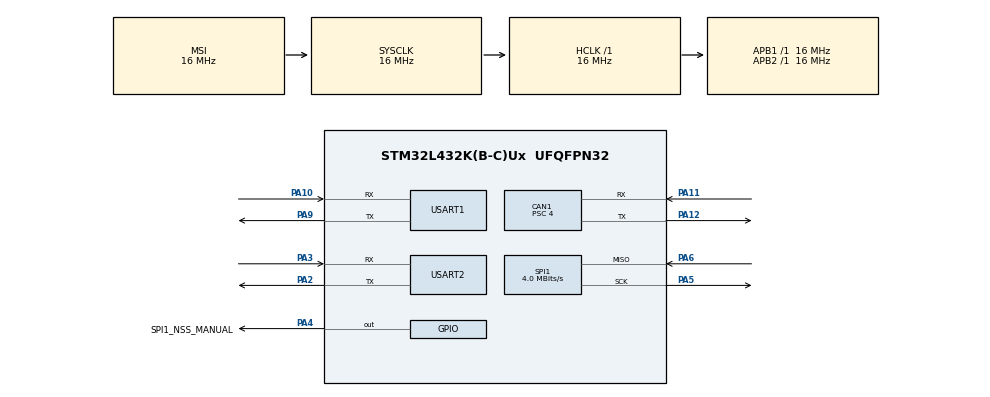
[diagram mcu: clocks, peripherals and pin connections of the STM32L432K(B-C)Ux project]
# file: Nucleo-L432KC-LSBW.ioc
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CAN1.ABOM=ENABLE
CAN1.BS1=CAN_BS1_13TQ
CAN1.BS2=CAN_BS2_2TQ
CAN1.CalculateBaudRate=250000
CAN1.CalculateTimeBit=4000
CAN1.CalculateTimeQuantum=250.0
CAN1.Mode=CAN_MODE_NORMAL
CAN1.Prescaler=4
CAN1.SJW=CAN_SJW_1TQ
CAN1.TTCM=DISABLE
Mcu.Family=STM32L4
Mcu.Name=STM32L432K(B-C)Ux
Mcu.Package=UFQFPN32
NVIC.CAN1_RX0_IRQn=true\:0\:0\:false\:false\:true\:true\:true\:true
NVIC.CAN1_RX1_IRQn=true\:0\:0\:false\:false\:true\:true\:true\:true
NVIC.PriorityGroup=NVIC_PRIORITYGROUP_4
NVIC.SPI1_IRQn=true\:0\:0\:false\:false\:true\:true\:true\:true
NVIC.TIM1_UP_TIM16_IRQn=true\:0\:0\:false\:false\:true\:true\:true\:true
NVIC.TIM6_DAC_IRQn=true\:0\:0\:false\:false\:true\:true\:true\:true
NVIC.TIM7_IRQn=true\:0\:0\:false\:false\:true\:true\:true\:true
NVIC.USART1_IRQn=true\:0\:0\:false\:false\:true\:true\:true\:true
NVIC.USART2_IRQn=true\:0\:0\:false\:false\:true\:true\:true\:true
PA10.Mode=Asynchronous
PA10.Signal=USART1_RX
PA11.Mode=CAN_Activate
PA11.Signal=CAN1_RX
PA12.Mode=CAN_Activate
PA12.Signal=CAN1_TX
PA13\ (JTMS-SWDIO).Mode=Serial_Wire
PA13\ (JTMS-SWDIO).Signal=SYS_JTMS-SWDIO
PA14\ (JTCK-SWCLK).Mode=Serial_Wire
PA14\ (JTCK-SWCLK).Signal=SYS_JTCK-SWCLK
PA2.Mode=Asynchronous
PA2.Signal=USART2_TX
PA3.Mode=Asynchronous
PA3.Signal=USART2_RX
PA4.GPIO_Label=SPI1_NSS_MANUAL
PA4.Signal=GPIO_Output
PA5.Mode=RX_Only_Simplex_Unidirect_Master
PA5.Signal=SPI1_SCK
PA6.Mode=RX_Only_Simplex_Unidirect_Master
PA6.Signal=SPI1_MISO
PA9.Mode=Asynchronous
PA9.Signal=USART1_TX
ProjectManager.HeapSize=0x200
ProjectManager.StackSize=0x400
ProjectManager.TargetToolchain=STM32CubeIDE
RCC.ADCFreq_Value=64000000
RCC.AHBFreq_Value=16000000
RCC.APB1Freq_Value=16000000
RCC.APB1TimFreq_Value=16000000
RCC.APB2Freq_Value=16000000
RCC.APB2TimFreq_Value=16000000
RCC.CortexFreq_Value=16000000
RCC.HCLKFreq_Value=16000000
RCC.HSE_VALUE=8000000
RCC.HSI48_VALUE=48000000
RCC.HSI_VALUE=16000000
RCC.LSE_VALUE=32768
RCC.MSIClockRange=RCC_MSIRANGE_8
RCC.MSI_VALUE=16000000
RCC.SYSCLKFreq_VALUE=16000000
RCC.USBFreq_Value=64000000
RCC.VCOOutputFreq_Value=128000000
SPI1.BaudRatePrescaler=SPI_BAUDRATEPRESCALER_4
SPI1.CLKPhase=SPI_PHASE_2EDGE
SPI1.CalculateBaudRate=4.0 MBits/s
SPI1.DataSize=SPI_DATASIZE_16BIT
SPI1.Direction=SPI_DIRECTION_2LINES_RXONLY
SPI1.Mode=SPI_MODE_MASTER
SPI1.VirtualType=VM_MASTER
TIM16.Period=20000
TIM16.Prescaler=160-1
TIM6.Period=40000
TIM6.Prescaler=16-1
TIM7.Period=20000
TIM7.Prescaler=16-1
USART1.VirtualMode-Asynchronous=VM_ASYNC
USART2.VirtualMode-Asynchronous=VM_ASYNC
VP_TIM16_VS_ClockSourceINT.Mode=Enable_Timer
VP_TIM6_VS_ClockSourceINT.Mode=Enable_Timer
VP_TIM7_VS_ClockSourceINT.Mode=Enable_Timer
board=custom

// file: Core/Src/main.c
/* USER CODE BEGIN Header */
/**
  ******************************************************************************
  * @file           : main.c
  * @brief          : Main program body
  ******************************************************************************
  * @attention
  *
  * Copyright (c) 2022 STMicroelectronics.
  * All rights reserved.
  *
  * This software is licensed under terms that can be found in the LICENSE file
  * in the root directory of this software component.
  * If no LICENSE file comes with this software, it is provided AS-IS.
  *
  ******************************************************************************
  */
/* USER CODE END Header */
#include "main.h"

/* USER CODE BEGIN Includes */

#include "utils.h"
#include "math.h"
#include <stdio.h>
#include "vesc.h"
#include "as5047p.h"

/* USER CODE END Includes */

CAN_HandleTypeDef hcan1;

SPI_HandleTypeDef hspi1;

TIM_HandleTypeDef htim6;
TIM_HandleTypeDef htim7;
TIM_HandleTypeDef htim16;

UART_HandleTypeDef huart1;
UART_HandleTypeDef huart2;

void SystemClock_Config(void);
static void MX_GPIO_Init(void);
static void MX_CAN1_Init(void);
static void MX_USART1_UART_Init(void);
static void MX_USART2_UART_Init(void);
static void MX_SPI1_Init(void);
static void MX_TIM6_Init(void);
static void MX_TIM7_Init(void);
static void MX_TIM16_Init(void);

/* USER CODE BEGIN 0 */

CAN_TxHeaderTypeDef TxHeader;
CAN_RxHeaderTypeDef RxHeader;

uint32_t TxMailbox;

uint8_t CAN_TxData[4];
uint8_t CAN_RxData[4];

uint8_t vesc_packet[10];

double error = 0.0;
double error_prev = 0.0;
double error_max = 10.0;

double kp_e = 0.50;
double kd_e = 1.00;

double steer_measured = 0.0;
double steer_desired = 0.0;
double steer_offset = -65;
double steer_max = 55.0;

double current = 0.0;
double current_multiplier = 1.8; // for multip-surface friction adjustment
double current_max = 18.0;

// uart print to serial terminal for debugging purpose
int _write(int file, char *ptr, int len){
	HAL_UART_Transmit(&huart2, (uint8_t*)ptr, len, HAL_MAX_DELAY);
	return len;
}

// wrap angle between -180 and 180
double wrap_to_pi(double angle){
	double new_angle;

	if (angle < -180.0){
		new_angle = angle + 360.0;
	} else if (angle > 180.0){
		new_angle = angle - 360.0;
	} else{
		new_angle = angle;
	}

	return new_angle;
}

// read the current steering angle from the sensor
void read_steer(){
	as5047p_spi_comm_stats_t as5047p;

    if (spi_as5047p_blocking_read(&steer_measured, &as5047p) == HAL_OK) {
    	steer_measured -= steer_offset;
	    steer_measured = wrap_to_pi(steer_measured);
    }
}

// modified PID control for steering current
void compute_current(){
    error = steer_desired - steer_measured;

    // ignore small error to avoid oscillation
    if (steer_desired <= 2.0 && fabs(error) < 1.0)
    {
    	error = error_prev = current = 0.0;
    	return;
    }

	double error_bound = error;

	if (error > error_max){
		error_bound = error_max;
	} if (error < -error_max){
		error_bound = -error_max;
	}

	double angle_compensation = 2.0 * (steer_desired / steer_max);

    current = error_bound * kp_e + (error - error_prev) * kd_e + angle_compensation;
    current *= current_multiplier;
    current = -current;

    if (current > current_max){
    	current = current_max;
    }
    if (current < -current_max){
    	current = -current_max;
    }

	error_prev = error;
}

// send can and uart command
void send_command(){
	float steer_transmit = steer_measured;

	if (steer_transmit > steer_max){
		steer_transmit = steer_max;
	} else if (steer_transmit < -steer_max){
		steer_transmit = -steer_max;
	}

    // send current command to vesc via uart
	vesc_set_current(vesc_packet, (float)current);
	//when the current is low set the rpm to 0 to brake the motor
	if (abs(current) <= 0.5){
		vesc_set_rpm(vesc_packet, 0);
	}
	HAL_UART_Transmit(VESC_UART, vesc_packet, sizeof(vesc_packet), 2);
}

void send_info(){
	// send measured steering angle on canbus
	CAN_TxData[0] = (int)(steer_measured + steer_max);
    HAL_CAN_AddTxMessage(&hcan1, &TxHeader, CAN_TxData, &TxMailbox);

/*    printf(
  	  "steering angle desired: %.2f \r\n", steer_desired
    );
    printf(
  	  "steering angle measured: %.2f \r\n", steer_measured
    );
    printf(
  	  "steering angle error: %.2f \r\n", error
    );
    printf(
  	  "control current: %.2f \r\n", current
    );*/
}

void HAL_CAN_RxFifo0MsgPendingCallback(CAN_HandleTypeDef *hcan1)
{
  if (HAL_CAN_GetRxMessage(hcan1, CAN_RX_FIFO0, &RxHeader, CAN_RxData) != HAL_OK)
  {
	  Error_Handler();
  }

  // 0x100 is the can device id of the main controller
  if (RxHeader.StdId == 0x100)
  {
    // for CAN communication debugging
    printf("Receive from MAIN CONTROLLER\r\n");

	  // recover raw steer data [-50 - 50]
	  steer_desired = CAN_RxData[0] - steer_max;
	  steer_desired = wrap_to_pi(steer_desired);
  }
}

void HAL_TIM_PeriodElapsedCallback(TIM_HandleTypeDef *htim) {
	// 25Hz - 40ms steering motor NEO1650 control loop
	if (htim == &htim6) {
		compute_current();
		send_command();
	}

	// 50Hz - 20ms read current steering angle from AS5047 sensor
	if (htim == &htim7) {
		read_steer();
	}

	// 5Hz = 200ms send out measured steering angle to can bus
	if (htim == &htim16){
		send_info();
	}
}

/* USER CODE END 0 */

int main(void)
{

  /* MCU Configuration--------------------------------------------------------*/

  /* Reset of all peripherals, Initializes the Flash interface and the Systick. */
  HAL_Init();

  /* Configure the system clock */
  SystemClock_Config();

  /* Initialize all configured peripherals */
  MX_GPIO_Init();
  MX_CAN1_Init();
  MX_USART1_UART_Init();
  MX_USART2_UART_Init();
  MX_SPI1_Init();
  MX_TIM6_Init();
  MX_TIM7_Init();
  MX_TIM16_Init();

  /* Infinite loop */
  while (1)
  {
  }

}

void SystemClock_Config(void)
{
  RCC_OscInitTypeDef RCC_OscInitStruct = {0};
  RCC_ClkInitTypeDef RCC_ClkInitStruct = {0};

  /** Configure the main internal regulator output voltage
  */
  if (HAL_PWREx_ControlVoltageScaling(PWR_REGULATOR_VOLTAGE_SCALE1) != HAL_OK)
  {
    Error_Handler();
  }

  /** Initializes the RCC Oscillators according to the specified parameters
  * in the RCC_OscInitTypeDef structure.
  */
  RCC_OscInitStruct.OscillatorType = RCC_OSCILLATORTYPE_MSI;
  RCC_OscInitStruct.MSIState = RCC_MSI_ON;
  RCC_OscInitStruct.MSICalibrationValue = 0;
  RCC_OscInitStruct.MSIClockRange = RCC_MSIRANGE_8;
  RCC_OscInitStruct.PLL.PLLState = RCC_PLL_NONE;
  if (HAL_RCC_OscConfig(&RCC_OscInitStruct) != HAL_OK)
  {
    Error_Handler();
  }

  /** Initializes the CPU, AHB and APB buses clocks
  */
  RCC_ClkInitStruct.ClockType = RCC_CLOCKTYPE_HCLK|RCC_CLOCKTYPE_SYSCLK
                              |RCC_CLOCKTYPE_PCLK1|RCC_CLOCKTYPE_PCLK2;
  RCC_ClkInitStruct.SYSCLKSource = RCC_SYSCLKSOURCE_MSI;
  RCC_ClkInitStruct.AHBCLKDivider = RCC_SYSCLK_DIV1;
  RCC_ClkInitStruct.APB1CLKDivider = RCC_HCLK_DIV1;
  RCC_ClkInitStruct.APB2CLKDivider = RCC_HCLK_DIV1;

  if (HAL_RCC_ClockConfig(&RCC_ClkInitStruct, FLASH_LATENCY_0) != HAL_OK)
  {
    Error_Handler();
  }
}

static void MX_CAN1_Init(void)
{

  /* USER CODE BEGIN CAN1_Init 0 */
  TxHeader.DLC = 4;
  TxHeader.ExtId = 0;
  TxHeader.IDE = CAN_ID_STD;
  TxHeader.RTR = CAN_RTR_DATA;
  TxHeader.StdId = 0x103;
  TxHeader.TransmitGlobalTime = DISABLE;

  /* USER CODE END CAN1_Init 0 */

  hcan1.Instance = CAN1;
  hcan1.Init.Prescaler = 2;
  hcan1.Init.Mode = CAN_MODE_NORMAL;
  hcan1.Init.SyncJumpWidth = CAN_SJW_1TQ;
  hcan1.Init.TimeSeg1 = CAN_BS1_13TQ;
  hcan1.Init.TimeSeg2 = CAN_BS2_2TQ;
  hcan1.Init.TimeTriggeredMode = DISABLE;
  hcan1.Init.AutoBusOff = ENABLE;
  hcan1.Init.AutoWakeUp = DISABLE;
  hcan1.Init.AutoRetransmission = DISABLE;
  hcan1.Init.ReceiveFifoLocked = DISABLE;
  hcan1.Init.TransmitFifoPriority = DISABLE;
  if (HAL_CAN_Init(&hcan1) != HAL_OK)
  {
    Error_Handler();
  }
  /* USER CODE BEGIN CAN1_Init 2 */

  CAN_FilterTypeDef canfilterconfig;

  canfilterconfig.FilterActivation = CAN_FILTER_ENABLE;
  canfilterconfig.FilterBank = 10;  // which filter bank to use from the assigned ones
  canfilterconfig.FilterFIFOAssignment = CAN_FILTER_FIFO0;
  canfilterconfig.FilterIdHigh = 0x100 << 5;  // Standard 11-bit ID left-aligned in a 16-bit field
  canfilterconfig.FilterIdLow = 0x0000;
  canfilterconfig.FilterMaskIdHigh = 0xFFE0;  // Mask to match the ID exactly (11-bit ID left-aligned, 5 bits for mask)
  canfilterconfig.FilterMaskIdLow = 0x0000;
  canfilterconfig.FilterMode = CAN_FILTERMODE_IDMASK;
  canfilterconfig.FilterScale = CAN_FILTERSCALE_32BIT;
  canfilterconfig.SlaveStartFilterBank = 20;  // how many filters to assign to the CAN1 (master can)

  HAL_CAN_ConfigFilter(&hcan1, &canfilterconfig);
  HAL_CAN_Start(&hcan1);
  HAL_CAN_ActivateNotification(&hcan1, CAN_IT_RX_FIFO0_MSG_PENDING);

  /* USER CODE END CAN1_Init 2 */

}

static void MX_SPI1_Init(void)
{

  /* SPI1 parameter configuration*/
  hspi1.Instance = SPI1;
  hspi1.Init.Mode = SPI_MODE_MASTER;
  hspi1.Init.Direction = SPI_DIRECTION_2LINES_RXONLY;
  hspi1.Init.DataSize = SPI_DATASIZE_16BIT;
  hspi1.Init.CLKPolarity = SPI_POLARITY_LOW;
  hspi1.Init.CLKPhase = SPI_PHASE_2EDGE;
  hspi1.Init.NSS = SPI_NSS_SOFT;
  hspi1.Init.BaudRatePrescaler = SPI_BAUDRATEPRESCALER_4;
  hspi1.Init.FirstBit = SPI_FIRSTBIT_MSB;
  hspi1.Init.TIMode = SPI_TIMODE_DISABLE;
  hspi1.Init.CRCCalculation = SPI_CRCCALCULATION_DISABLE;
  hspi1.Init.CRCPolynomial = 7;
  hspi1.Init.CRCLength = SPI_CRC_LENGTH_DATASIZE;
  hspi1.Init.NSSPMode = SPI_NSS_PULSE_DISABLE;
  if (HAL_SPI_Init(&hspi1) != HAL_OK)
  {
    Error_Handler();
  }

}

static void MX_TIM6_Init(void)
{

  TIM_MasterConfigTypeDef sMasterConfig = {0};

  htim6.Instance = TIM6;
  htim6.Init.Prescaler = 16-1;
  htim6.Init.CounterMode = TIM_COUNTERMODE_UP;
  htim6.Init.Period = 40000;
  htim6.Init.AutoReloadPreload = TIM_AUTORELOAD_PRELOAD_DISABLE;
  if (HAL_TIM_Base_Init(&htim6) != HAL_OK)
  {
    Error_Handler();
  }
  sMasterConfig.MasterOutputTrigger = TIM_TRGO_RESET;
  sMasterConfig.MasterSlaveMode = TIM_MASTERSLAVEMODE_DISABLE;
  if (HAL_TIMEx_MasterConfigSynchronization(&htim6, &sMasterConfig) != HAL_OK)
  {
    Error_Handler();
  }
  /* USER CODE BEGIN TIM6_Init 2 */
  HAL_TIM_Base_Start_IT(&htim6);
  /* USER CODE END TIM6_Init 2 */

}

static void MX_TIM7_Init(void)
{

  TIM_MasterConfigTypeDef sMasterConfig = {0};

  htim7.Instance = TIM7;
  htim7.Init.Prescaler = 16-1;
  htim7.Init.CounterMode = TIM_COUNTERMODE_UP;
  htim7.Init.Period = 20000;
  htim7.Init.AutoReloadPreload = TIM_AUTORELOAD_PRELOAD_DISABLE;
  if (HAL_TIM_Base_Init(&htim7) != HAL_OK)
  {
    Error_Handler();
  }
  sMasterConfig.MasterOutputTrigger = TIM_TRGO_RESET;
  sMasterConfig.MasterSlaveMode = TIM_MASTERSLAVEMODE_DISABLE;
  if (HAL_TIMEx_MasterConfigSynchronization(&htim7, &sMasterConfig) != HAL_OK)
  {
    Error_Handler();
  }
  /* USER CODE BEGIN TIM7_Init 2 */
  HAL_TIM_Base_Start_IT(&htim7);
  /* USER CODE END TIM7_Init 2 */

}

static void MX_TIM16_Init(void)
{

  htim16.Instance = TIM16;
  htim16.Init.Prescaler = 160-1;
  htim16.Init.CounterMode = TIM_COUNTERMODE_UP;
  htim16.Init.Period = 20000;
  htim16.Init.ClockDivision = TIM_CLOCKDIVISION_DIV1;
  htim16.Init.RepetitionCounter = 0;
  htim16.Init.AutoReloadPreload = TIM_AUTORELOAD_PRELOAD_DISABLE;
  if (HAL_TIM_Base_Init(&htim16) != HAL_OK)
  {
    Error_Handler();
  }
  /* USER CODE BEGIN TIM16_Init 2 */
  HAL_TIM_Base_Start_IT(&htim16);
  /* USER CODE END TIM16_Init 2 */

}

static void MX_USART1_UART_Init(void)
{

  huart1.Instance = USART1;
  huart1.Init.BaudRate = 115200;
  huart1.Init.WordLength = UART_WORDLENGTH_8B;
  huart1.Init.StopBits = UART_STOPBITS_1;
  huart1.Init.Parity = UART_PARITY_NONE;
  huart1.Init.Mode = UART_MODE_TX_RX;
  huart1.Init.HwFlowCtl = UART_HWCONTROL_NONE;
  huart1.Init.OverSampling = UART_OVERSAMPLING_16;
  huart1.Init.OneBitSampling = UART_ONE_BIT_SAMPLE_DISABLE;
  huart1.AdvancedInit.AdvFeatureInit = UART_ADVFEATURE_NO_INIT;
  if (HAL_UART_Init(&huart1) != HAL_OK)
  {
    Error_Handler();
  }

}

static void MX_USART2_UART_Init(void)
{

  huart2.Instance = USART2;
  huart2.Init.BaudRate = 115200;
  huart2.Init.WordLength = UART_WORDLENGTH_8B;
  huart2.Init.StopBits = UART_STOPBITS_1;
  huart2.Init.Parity = UART_PARITY_NONE;
  huart2.Init.Mode = UART_MODE_TX_RX;
  huart2.Init.HwFlowCtl = UART_HWCONTROL_NONE;
  huart2.Init.OverSampling = UART_OVERSAMPLING_16;
  huart2.Init.OneBitSampling = UART_ONE_BIT_SAMPLE_DISABLE;
  huart2.AdvancedInit.AdvFeatureInit = UART_ADVFEATURE_NO_INIT;
  if (HAL_UART_Init(&huart2) != HAL_OK)
  {
    Error_Handler();
  }

}

static void MX_GPIO_Init(void)
{
  GPIO_InitTypeDef GPIO_InitStruct = {0};

  /* GPIO Ports Clock Enable */
  __HAL_RCC_GPIOA_CLK_ENABLE();

  /*Configure GPIO pin Output Level */
  HAL_GPIO_WritePin(SPI1_NSS_MANUAL_GPIO_Port, SPI1_NSS_MANUAL_Pin, GPIO_PIN_RESET);

  /*Configure GPIO pin : SPI1_NSS_MANUAL_Pin */
  GPIO_InitStruct.Pin = SPI1_NSS_MANUAL_Pin;
  GPIO_InitStruct.Mode = GPIO_MODE_OUTPUT_PP;
  GPIO_InitStruct.Pull = GPIO_NOPULL;
  GPIO_InitStruct.Speed = GPIO_SPEED_FREQ_LOW;
  HAL_GPIO_Init(SPI1_NSS_MANUAL_GPIO_Port, &GPIO_InitStruct);

}

void Error_Handler(void)
{
  __disable_irq();
  while (1)
  {
  }
}
